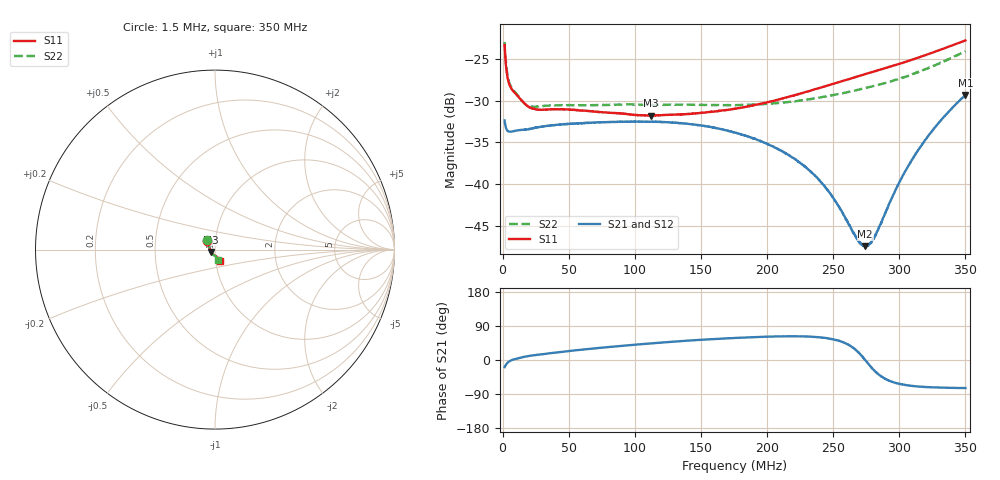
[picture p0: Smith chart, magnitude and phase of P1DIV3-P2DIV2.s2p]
# Hz S RI R 50
! RAW DATA - UNCALIBRATED
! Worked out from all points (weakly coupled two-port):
!   1601 points, 1.5 MHz to 350 MHz, reference 50 ohm
!   highest |S21| = -29.34 dB at 350 MHz (marker M1); lowest = -47.4 dB at 274.2 MHz (marker M2)
!   lowest |S11| = -31.8 dB at 112.4 MHz (marker M3), VSWR 1.05, Z = 47.8 - j1.28 ohm
!   |S11| at or under -10 dB: start of sweep to end of sweep
!   |S22| runs from -30.8 to -23.0 dB; largest |S21 - S12| = 0.0016
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1500000  -0.0463 0.0497  0.0228 -0.00777  0.0226 -0.00813  -0.0468 0.0532
3895938  -0.0365 0.022  0.0207 -0.0023  0.0206 -0.00247  -0.0367 0.0244
5856250  -0.0347 0.016  0.0206 -0.000698  0.0204 -0.000808  -0.0346 0.0179
1.761812e7  -0.029 0.00688  0.0209 0.00335  0.021 0.00335  -0.0287 0.00815
2.676625e7  -0.0278 0.00246  0.0212 0.00526  0.0209 0.00506  -0.0288 0.00458
5.965594e7  -0.0272 -0.00429  0.0206 0.0106  0.0204 0.0107  -0.0297 0.000797
1.123666e8  -0.022 -0.0133  0.0171 0.0164  0.0165 0.0165  -0.0289 -0.00753
1.178119e8  -0.0214 -0.0145  0.0166 0.0167  0.0161 0.0169  -0.0285 -0.00883
1.474344e8  -0.0167 -0.0206  0.0137 0.018  0.0132 0.0181  -0.0253 -0.0157
1.7575e8  -0.0109 -0.0261  0.0108 0.0172  0.0102 0.0174  -0.0198 -0.0221
2.079862e8  -0.00305 -0.0318  0.00757 0.0144  0.0071 0.0144  -0.012 -0.0282
2.339059e8  0.0037 -0.0362  0.00561 0.0103  0.00525 0.0103  -0.00512 -0.032
2.500241e8  0.00792 -0.039  0.0048 0.00673  0.00455 0.00682  -0.0012 -0.0341
2.689738e8  0.0126 -0.0424  0.00428 0.00158  0.00423 0.00169  0.00283 -0.0366
2.742012e8  0.0139 -0.0433  0.00425 1.88e-05  0.00424 3.39e-05  0.00383 -0.0374
2.772506e8  0.0145 -0.0439  0.00428 -0.000971  0.00428 -0.000944  0.00441 -0.0378
2.805178e8  0.0153 -0.0446  0.00429 -0.00207  0.00426 -0.002  0.005 -0.0383
2.920619e8  0.0179 -0.0468  0.00437 -0.00612  0.00459 -0.00601  0.00686 -0.0403
3.040416e8  0.0206 -0.0496  0.00487 -0.0108  0.00527 -0.0106  0.00852 -0.0428
3.184172e8  0.0238 -0.0535  0.00583 -0.0169  0.00648 -0.0167  0.0109 -0.047
3.334462e8  0.0271 -0.0587  0.00732 -0.0241  0.00837 -0.0238  0.0129 -0.0526
3.5e8  0.0305 -0.0656  0.00942 -0.0328  0.0108 -0.0325  0.015 -0.0606
